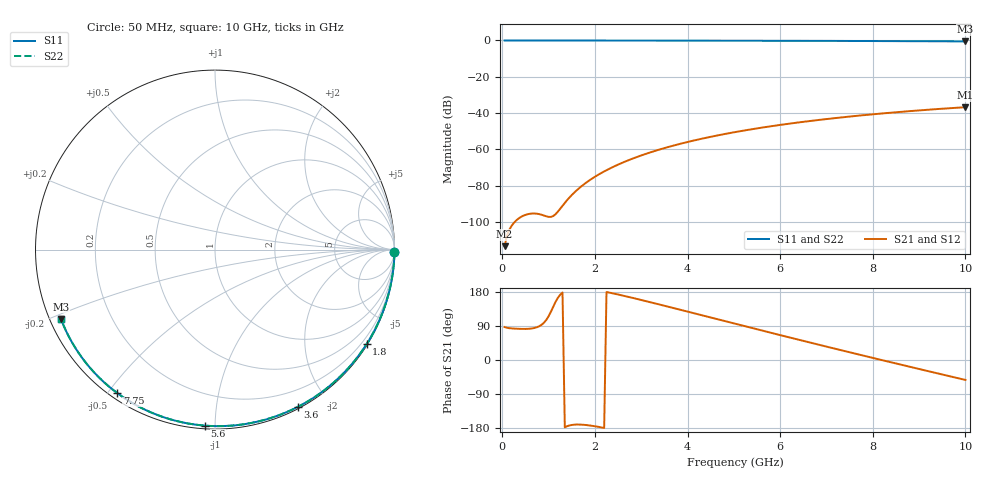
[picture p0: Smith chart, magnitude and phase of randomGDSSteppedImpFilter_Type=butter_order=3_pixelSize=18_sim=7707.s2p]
! freq	dB(S11)	phase(S11)	dB(S12)	phase(S12)
!  dB(S21)	phase(S21)	dB(S22)	phase(S22)
!S-par simulation data
#  GHz  S  DB  R 50
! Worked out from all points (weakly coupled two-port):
!   200 points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, 50 MHz to 10 GHz, reference 50 ohm
!   highest |S21| = -36.78 dB at 10 GHz (marker M1); lowest = -113.4 dB at 50 MHz (marker M2)
!   lowest |S11| = -0.5 dB at 10 GHz (marker M3), VSWR 33.12, Z = 1.58 - j10.7 ohm
!   |S11| at or under -10 dB: nowhere
!   |S22| runs from -0.5 to 0.0 dB; largest |S21 - S12| = 0
!   S11 on the Smith chart (normalised r, x): 50 MHz: open; 1.8 GHz: 0.03, -3.49; 3.6 GHz: 0.02, -1.66; 5.6 GHz: 0.02, -0.94; 7.75 GHz: 0.02, -0.53; 10 GHz: 0.03, -0.21
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0.05  -0.00 -0.9  -113.39 86.9  -113.39 86.9  -0.00 -0.9
0.45  -0.01 -8.1  -96.66 82.0  -96.66 82.0  -0.01 -8.1
0.9  -0.02 -16.2  -96.50 98.4  -96.50 98.4  -0.02 -16.2
1.7  -0.04 -30.2  -80.55 -170.5  -80.55 -170.5  -0.04 -30.2
1.75  -0.04 -31.1  -79.54 -170.9  -79.54 -170.9  -0.04 -31.1
1.8  -0.04 -32.0  -78.58 -171.4  -78.58 -171.4  -0.04 -32.0
1.95  -0.04 -34.6  -75.94 -173.8  -75.94 -173.8  -0.04 -34.6
2.1  -0.05 -37.2  -73.61 -177.0  -73.61 -177.0  -0.05 -37.2
2.3  -0.05 -40.6  -70.86 178.2  -70.86 178.2  -0.05 -40.6
2.5  -0.06 -44.0  -68.44 172.9  -68.44 172.9  -0.06 -44.0
2.9  -0.07 -50.7  -64.30 161.4  -64.30 161.4  -0.07 -50.7
3.4  -0.08 -59.0  -60.08 146.3  -60.08 146.3  -0.08 -59.0
3.6  -0.08 -62.2  -58.61 140.1  -58.61 140.1  -0.08 -62.2
4.3  -0.10 -73.4  -54.20 118.4  -54.20 118.4  -0.10 -73.4
5.05  -0.13 -85.0  -50.40 95.0  -50.40 95.0  -0.13 -85.1
5.6  -0.16 -93.3  -48.06 78.0  -48.06 78.0  -0.16 -93.3
6.15  -0.18 -101.4  -46.02 61.1  -46.02 61.1  -0.18 -101.4
6.7  -0.21 -109.4  -44.22 44.4  -44.22 44.4  -0.21 -109.4
7.75  -0.29 -124.2  -41.31 12.9  -41.31 12.9  -0.29 -124.3
8.35  -0.34 -132.6  -39.90 -4.8  -39.90 -4.8  -0.34 -132.6
9.2  -0.43 -144.5  -38.17 -29.5  -38.17 -29.5  -0.43 -144.5
10  -0.52 -155.8  -36.78 -52.6  -36.78 -52.6  -0.52 -155.8
